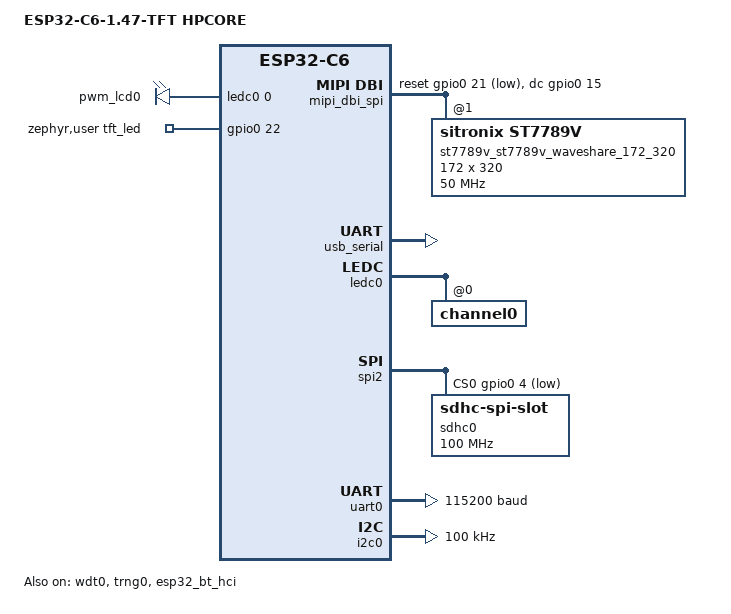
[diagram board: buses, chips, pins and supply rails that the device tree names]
/*
* Copyright (c) 2024 Joel Guittet
* SPDX-License-Identifier: Apache-2.0
*/

// ESP32-C6FH4 4 MB (Quad SPI) v0.0/v0.1/v0.2
/dts-v1/;
#include <zephyr/dt-bindings/display/panel.h>
#include <zephyr/dt-bindings/input/input-event-codes.h>
#include <zephyr/dt-bindings/pwm/pwm.h>

#include <espressif/esp32c6/esp32c6_common.dtsi>

#include "esp32c6_1_47_tft-pinctrl.dtsi"

/ {
    model = "ESP32-C6-1.47-TFT HPCORE";
    compatible = "waveshare,esp32-c6-1.47-tft";
    
    chosen {
        zephyr,sram = &sramhp;
        zephyr,console = &usb_serial;
        zephyr,shell-uart = &usb_serial;
        zephyr,flash = &flash0;
        zephyr,code-partition = &slot0_partition;
        zephyr,bt-hci = &esp32_bt_hci;
    };
    
    aliases {
        i2c-0 = &i2c0;
        pwm-0 = &ledc0;
        pwm-lcd0 = &pwm_lcd0;
        uart-0 = &uart0;
        watchdog0 = &wdt0;
    };
    
    /* PWM */
    pwmleds {
        compatible = "pwm-leds";
        pwm_lcd0: pwm_lcd0 {
            pwms = <&ledc0 0 PWM_HZ(250) PWM_POLARITY_NORMAL>;
        };
    };
    
    zephyr,user {
        tft_led-gpios = <&gpio0 22 GPIO_ACTIVE_HIGH>;
    };
};

/* ================================================================ */
/* System */
/* ================================================================ */

&wdt0 {
    status = "okay";
};

&trng0 {
    status = "okay";
};

&usb_serial {
    status = "okay";
};

&esp32_bt_hci {
    status = "okay";
};

/* ================================================================ */
/* Storage / Memory */
/* ================================================================ */

/* 4 MB flash */
&flash0 {
    reg = <0x0 DT_SIZE_M(4)>;
    
    partitions {
        compatible = "fixed-partitions";
        #address-cells = <1>;
        #size-cells = <1>;
        
        boot_partition: partition@0 {
            label = "mcuboot";
            reg = <0x0 DT_SIZE_K(64)>;
        };
        
        sys_partition: partition@10000 {
            label = "sys";
            reg = <0x10000 DT_SIZE_K(64)>;
        };
        
        slot0_partition: partition@20000 {
            label = "image-0";
            reg = <0x20000 DT_SIZE_K(1792)>;
        };
        
        slot1_partition: partition@1e0000 {
            label = "image-1";
            reg = <0x1e0000 DT_SIZE_K(1792)>;
        };
        
        slot0_lpcore_partition: partition@3a0000 {
            label = "image-0-lpcore";
            reg = <0x3a0000 DT_SIZE_K(32)>;
        };
        
        slot1_lpcore_partition: partition@3a8000 {
            label = "image-1-lpcore";
            reg = <0x3a8000 DT_SIZE_K(32)>;
        };
        
        storage_partition: partition@3b0000 {
            label = "storage";
            reg = <0x3b0000 DT_SIZE_K(192)>;
        };
        
        scratch_partition: partition@3e0000 {
            label = "image-scratch";
            reg = <0x3e0000 DT_SIZE_K(124)>;
        };
        
        coredump_partition: partition@3ff000 {
            label = "coredump";
            reg = <0x3ff000 DT_SIZE_K(4)>;
        };
    };
};

/**
* Remaining flash size is 0kB
* Last used address is 0x3FFFFF
*/

/* ================================================================ */
/* GPIO */
/* ================================================================ */

&gpio0 {
    status = "okay";
};

&ledc0 {
    status = "okay";
    pinctrl-0 = <&ledc0_default>;
    pinctrl-names = "default";
    #address-cells = <1>;
    #size-cells = <0>;
    channel0@0 {
        reg = <0x0>;
        timer = <0>;
    };
};

/* ================================================================ */
/* Display */
/* ================================================================ */

&spi2 {
    status = "okay";
    #address-cells = <1>;
    #size-cells = <0>;
    pinctrl-0 = <&spim2_default>;
    pinctrl-names = "default";
    cs-gpios = <&gpio0 4 GPIO_ACTIVE_LOW>,
    <&gpio0 14 GPIO_ACTIVE_LOW> ;   /* CS0 → SD card (sdhc0@0) */
};

/ {
    chosen {
        zephyr,display = &st7789v_st7789v_waveshare_172_320;
    };
    
    /* MIPI DBI */
    mipi_dbi_spi {
        compatible = "zephyr,mipi-dbi-spi";
        spi-dev = <&spi2>;
        dc-gpios = <&gpio0 15 GPIO_ACTIVE_HIGH>;    /* D15 */
        reset-gpios = <&gpio0 21 GPIO_ACTIVE_LOW>;  /* D21 */
        write-only;
        #address-cells = <1>;
        #size-cells = <0>;
        
        st7789v_st7789v_waveshare_172_320: st7789v@1 {
            compatible = "sitronix,st7789v";
            mipi-max-frequency = <50000000>;
            reg = <1>;
            width = <172>;
            height = <320>;
            x-offset = <34>;
            y-offset = <0>;
            vcom = <0x19>;
            gctrl = <0x35>;
            vrhs = <0x12>;
            vdvs = <0x20>;
            mdac = <0x00>;
            gamma = <0x02>;// 01h G2.2 ; 02h G1.8 ; 03h G2.5; 04h G1.0
            colmod = <0x65>;
            lcm = <0x2c>;
            porch-param = [0c 0c 00 33 33];
            cmd2en-param = [5a 69 02 01];
            pwctrl1-param = [52 a1];
            pvgam-param = [D0 04 0D 11 13 2B 3F 54 4C 18 0D 0B 1F 23];
            nvgam-param = [D0 04 0C 11 13 2C 3F 44 51 2F 1F 1F 20 23];
            ram-param = [00 C0];
            rgb-param = [CD 08 14];
            mipi-mode = "MIPI_DBI_MODE_SPI_4WIRE";
        };
    };
};

/* ================================================================ */
/* SD Card */
/* ================================================================ */

&spi2 {
    sdhc0: sdhc0@0 {
        compatible = "zephyr,sdhc-spi-slot";
        reg = <0>;
        status = "okay";
        spi-max-frequency = <100000000>;
        
        mmc {
            compatible = "zephyr,sdmmc-disk";
            disk-name = "sdhc0";
            status = "okay";
        };
    };
};

/* ================================================================ */
/* AX2101 Charger PMIC */
/* ================================================================ */

&uart0 {
    status = "okay";
    current-speed = <115200>;
    pinctrl-0 = <&uart0_default>;
    pinctrl-names = "default";
};

&i2c0 {
    status = "okay";
    clock-frequency = <I2C_BITRATE_STANDARD>;
    pinctrl-0 = <&i2c0_default>;
    pinctrl-names = "default";
    
};
